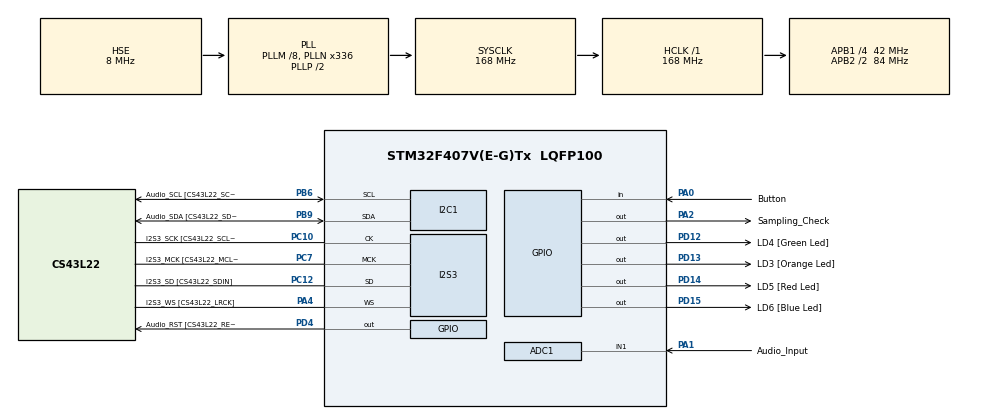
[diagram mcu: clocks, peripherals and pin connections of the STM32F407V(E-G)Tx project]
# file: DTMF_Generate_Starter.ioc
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ADC1.Channel-0\#ChannelRegularConversion=ADC_CHANNEL_1
ADC1.ClockPrescaler=ADC_CLOCK_SYNC_PCLK_DIV4
ADC1.ContinuousConvMode=DISABLE
ADC1.DMAContinuousRequests=DISABLE
ADC1.DataAlign=ADC_DATAALIGN_RIGHT
ADC1.DiscontinuousConvMode=DISABLE
ADC1.EOCSelection=ADC_EOC_SINGLE_CONV
ADC1.EnableAnalogWatchDog=false
ADC1.ExternalTrigConv=ADC_EXTERNALTRIGCONV_T2_TRGO
ADC1.ExternalTrigConvEdge=ADC_EXTERNALTRIGCONVEDGE_RISING
ADC1.InjNumberOfConversion=0
ADC1.NbrOfConversion=1
ADC1.NbrOfConversionFlag=1
ADC1.Rank-0\#ChannelRegularConversion=1
ADC1.Resolution=ADC_RESOLUTION_12B
ADC1.SamplingTime-0\#ChannelRegularConversion=ADC_SAMPLETIME_3CYCLES
ADC1.ScanConvMode=DISABLE
ADC1.master=1
I2S3.AudioFreq=I2S_AUDIOFREQ_48K
I2S3.ErrorAudioFreq=-0.01 %
I2S3.FullDuplexMode=I2S_FULLDUPLEXMODE_DISABLE
I2S3.Instance=SPI$Index
I2S3.RealAudioFreq=47.991 KHz
I2S3.Standard=I2S_STANDARD_PHILIPS
I2S3.VirtualMode=I2S_MODE_MASTER
Mcu.Family=STM32F4
Mcu.Name=STM32F407V(E-G)Tx
Mcu.Package=LQFP100
NVIC.ADC_IRQn=true\:0\:0\:false\:false\:true\:true\:true
NVIC.PriorityGroup=NVIC_PRIORITYGROUP_4
NVIC.SPI3_IRQn=true\:0\:0\:false\:false\:true\:true\:true
PA0-WKUP.GPIO_Label=Button
PA0-WKUP.Signal=GPIO_Input
PA1.GPIO_Label=Audio_Input
PA1.Signal=ADCx_IN1
PA13.GPIO_Label=SWDIO
PA13.Mode=Serial_Wire
PA13.Signal=SYS_JTMS-SWDIO
PA14.GPIO_Label=SWCLK
PA14.Mode=Serial_Wire
PA14.Signal=SYS_JTCK-SWCLK
PA2.GPIO_Label=Sampling_Check
PA2.Signal=GPIO_Output
PA4.GPIO_Label=I2S3_WS [CS43L22_LRCK]
PA4.GPIO_Mode=GPIO_MODE_AF_PP
PA4.GPIO_PuPd=GPIO_NOPULL
PA4.GPIO_Speed=GPIO_SPEED_FREQ_MEDIUM
PA4.Mode=Half_Duplex_Master
PA4.Signal=I2S3_WS
PB3.GPIO_Label=SWO
PB3.Signal=SYS_JTDO-SWO
PB6.GPIO_Label=Audio_SCL [CS43L22_SCL]
PB6.GPIO_Mode=GPIO_MODE_AF_OD
PB6.GPIO_PuPd=GPIO_NOPULL
PB6.GPIO_Speed=GPIO_SPEED_FREQ_LOW
PB6.Mode=I2C
PB6.Signal=I2C1_SCL
PB9.GPIO_Label=Audio_SDA [CS43L22_SDA]
PB9.GPIO_Mode=GPIO_MODE_AF_OD
PB9.GPIO_PuPd=GPIO_NOPULL
PB9.GPIO_Speed=GPIO_SPEED_FREQ_LOW
PB9.Mode=I2C
PB9.Signal=I2C1_SDA
PC10.GPIO_Label=I2S3_SCK [CS43L22_SCLK]
PC10.GPIO_Mode=GPIO_MODE_AF_PP
PC10.GPIO_PuPd=GPIO_NOPULL
PC10.GPIO_Speed=GPIO_SPEED_FREQ_MEDIUM
PC10.Mode=Half_Duplex_Master
PC10.Signal=I2S3_CK
PC12.GPIO_Label=I2S3_SD [CS43L22_SDIN]
PC12.GPIO_Mode=GPIO_MODE_AF_PP
PC12.GPIO_PuPd=GPIO_NOPULL
PC12.GPIO_Speed=GPIO_SPEED_FREQ_MEDIUM
PC12.Mode=Half_Duplex_Master
PC12.Signal=I2S3_SD
PC7.GPIO_Label=I2S3_MCK [CS43L22_MCLK]
PC7.GPIO_Mode=GPIO_MODE_AF_PP
PC7.GPIO_PuPd=GPIO_NOPULL
PC7.GPIO_Speed=GPIO_SPEED_FREQ_MEDIUM
PC7.Mode=Master_Clock_Activated
PC7.Signal=I2S3_MCK
PD12.GPIO_Label=LD4 [Green Led]
PD12.GPIO_PuPd=GPIO_NOPULL
PD12.GPIO_Speed=GPIO_SPEED_FREQ_LOW
PD12.Signal=GPIO_Output
PD13.GPIO_Label=LD3 [Orange Led]
PD13.GPIO_PuPd=GPIO_NOPULL
PD13.GPIO_Speed=GPIO_SPEED_FREQ_LOW
PD13.Signal=GPIO_Output
PD14.GPIO_Label=LD5 [Red Led]
PD14.GPIO_PuPd=GPIO_NOPULL
PD14.GPIO_Speed=GPIO_SPEED_FREQ_LOW
PD14.Signal=GPIO_Output
PD15.GPIO_Label=LD6 [Blue Led]
PD15.GPIO_PuPd=GPIO_NOPULL
PD15.GPIO_Speed=GPIO_SPEED_FREQ_LOW
PD15.Signal=GPIO_Output
PD4.GPIO_Label=Audio_RST [CS43L22_RESET]
PD4.GPIO_PuPd=GPIO_NOPULL
PD4.GPIO_Speed=GPIO_SPEED_FREQ_LOW
PD4.Signal=GPIO_Output
PH0-OSC_IN.GPIO_Label=PH0-OSC_IN
PH0-OSC_IN.Mode=HSE-External-Oscillator
PH0-OSC_IN.Signal=RCC_OSC_IN
PH1-OSC_OUT.GPIO_Label=PH1-OSC_OUT
PH1-OSC_OUT.Mode=HSE-External-Oscillator
PH1-OSC_OUT.Signal=RCC_OSC_OUT
ProjectManager.HeapSize=0x200
ProjectManager.StackSize=0x400
ProjectManager.TargetToolchain=TrueSTUDIO
RCC.48MHZClocksFreq_Value=48000000
RCC.AHBFreq_Value=168000000
RCC.APB1CLKDivider=RCC_HCLK_DIV4
RCC.APB1Freq_Value=42000000
RCC.APB1TimFreq_Value=84000000
RCC.APB2CLKDivider=RCC_HCLK_DIV2
RCC.APB2Freq_Value=84000000
RCC.APB2TimFreq_Value=168000000
RCC.CortexFreq_Value=168000000
RCC.HCLKFreq_Value=168000000
RCC.HSE_VALUE=8000000
RCC.HSI_VALUE=16000000
RCC.LSE_VALUE=0.00000000000003276799999999999
RCC.PLLI2SN=258
RCC.PLLI2SR=3
RCC.PLLM=8
RCC.PLLN=336
RCC.PLLQ=7
RCC.PLLSourceVirtual=RCC_PLLSOURCE_HSE
RCC.SYSCLKFreq_VALUE=168000000
RCC.SYSCLKSource=RCC_SYSCLKSOURCE_PLLCLK
RCC.VCOOutputFreq_Value=336000000
SH.ADCx_IN1.0=ADC1_IN1,IN1
TIM2.Period=9
TIM2.Prescaler=175
TIM2.TIM_MasterOutputTrigger=TIM_TRGO_UPDATE
TIM2.TIM_MasterSlaveMode=TIM_MASTERSLAVEMODE_DISABLE
VP_TIM2_VS_ClockSourceINT.Mode=Internal
board=STM32F4DISCOVERY

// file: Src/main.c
/* USER CODE BEGIN Header */
/**
  ******************************************************************************
  * @file           : main.c
  * @brief          : Main program body
  ******************************************************************************
  * @attention
  *
  * <h2><center>&copy; Copyright (c) 2019 STMicroelectronics.
  * All rights reserved.</center></h2>
  *
  * This software component is licensed by ST under BSD 3-Clause license,
  * the "License"; You may not use this file except in compliance with the
  * License. You may obtain a copy of the License at:
  *                        opensource.org/licenses/BSD-3-Clause
  *
  ******************************************************************************
  */
/* USER CODE END Header */

#include "main.h"

/* USER CODE BEGIN Includes */
#include <math.h>
#include "CS43L22.h"
#include <string.h>
#include <stdlib.h>
#include <stdio.h>
/* USER CODE END Includes */

/* USER CODE BEGIN PTD */
typedef struct Node
{
	struct Node* prev;
	float value;
	struct Node* next;
}Node;

typedef struct {
	float numerator[3], denominator[3];
}DE;
/* USER CODE END PTD */

/* USER CODE BEGIN PD */

#define FS 48000 //see also MX_I2S3_Init function

#define AUDIO_BUFFER_SIZE 180
//con 2*90 el plop se escucha cada tanto 90 samples por cada canal intercaladas

//opciones de compilacion

//#define USE_ADC  0
#define USE_LOOKUP_TABLE_COMPLEMENT_2 3

//#define ADC_OFFSET 0//2048  //Si uso LOOKUP TABLE offset = 0

// defino si quiero usar efectos en el camino de la senial

#define DSP

#define ROW 770
#define COLUMN 1209
#define _USE_MATH_DEFINES
#define START_VAL 3000
/* USER CODE END PD */

ADC_HandleTypeDef hadc1;

I2C_HandleTypeDef hi2c1;

I2S_HandleTypeDef hi2s3;

TIM_HandleTypeDef htim2;

/* USER CODE BEGIN PV */
uint16_t audioBufferA[AUDIO_BUFFER_SIZE];
uint16_t audioBufferB[AUDIO_BUFFER_SIZE];

/* %%%%%%%%%%%%%%%%% Declaro punteros para lectura y transmision de audio %%%%%%%%%%%%%%%%%%%*/

uint16_t *audioToSend = NULL;
uint16_t *audioToUpdate = NULL;

/* %%%%%%%%%%%%%%%%% Declaro variables globales %%%%%%%%%%%%%%%%%%%*/

flag_t flag = idle;

uint8_t adc_done = 0;

buffer_t  buffer_to_send = buffer_B;
buffer_t buffer_to_fill = buffer_A;

uint16_t sample;
volatile bool_t transferComplete = TRUE;

// initialize circular buffer pointers and global coefficient variables
Node* input_buffer;
Node* row_buffer;
Node* column_buffer;

DE row_diffeq;
DE column_diffeq;
/* USER CODE END PV */

void SystemClock_Config(void);
static void MX_GPIO_Init(void);
static void MX_I2C1_Init(void);
static void MX_I2S3_Init(void);
static void MX_ADC1_Init(void);
static void MX_TIM2_Init(void);
/* USER CODE BEGIN PFP */
uint16_t audio_read(void);
uint16_t* select_buffer_to_transmit(buffer_t);

void audio_buffer_init(void);   	//inicializo el audio buffer con ceros.
void fill_buffers();
void load_buffer(uint16_t* buff);

// creates a circular buffer of size 'size'
Node* create_circ_buffer(int size);
// calculates the next sample
float next_sample(DE diff_eq, Node* buffer);
DE create_diff_eq(int freq);
/* USER CODE END PFP */

int main(void)
{

  /* MCU Configuration--------------------------------------------------------*/

  /* Reset of all peripherals, Initializes the Flash interface and the Systick. */
  HAL_Init();

  /* Configure the system clock */
  SystemClock_Config();

  /* Initialize all configured peripherals */
  MX_GPIO_Init();
  MX_I2C1_Init();
  MX_I2S3_Init();
  MX_ADC1_Init();
  MX_TIM2_Init();
  /* USER CODE BEGIN 2 */
	audioToSend = audioBufferB;     //asigno punteros a c/u de los buffers
	audioToUpdate = audioBufferA;

	CS43L22_init();   				//configuro el DAC CS43L22

	audio_buffer_init();         	//inicializo los buffers con ceros

	HAL_TIM_Base_Start(&htim2); 	//activo el timer
	HAL_ADC_Start_IT(&hadc1); 		// y el ADC

	/* %%%%%%%%%%%%%%%%% compute filter coefficients %%%%%%%%%%%%%%%%%%%*/
	row_diffeq = create_diff_eq(ROW);
	column_diffeq = create_diff_eq(COLUMN);

	/* %%%%%%%%%%%%%%%%% Declare circular buffers %%%%%%%%%%%%%%%%%%%*/
	input_buffer = create_circ_buffer(3);
	row_buffer = create_circ_buffer(3);
	column_buffer = create_circ_buffer(3);

	input_buffer->value = START_VAL; // start the sine wave
  /* USER CODE END 2 */

  /* Infinite loop */
  while (1)
  {

    /* USER CODE BEGIN 3 */
	  audioToSend = select_buffer_to_transmit(buffer_to_send); //me devuelve el puntero al buffer listo para enviar

		if(transferComplete && (flag == data_ready_to_send)){

			flag = idle;

			CS43L22_AudioSend(audioToSend,AUDIO_BUFFER_SIZE); //Envio el buffer por I2S al codec

			transferComplete = FALSE;

		}

		if(adc_done){

			adc_done = 0;

			fill_buffers();
		}

  }
  /* USER CODE END 3 */
}

void SystemClock_Config(void)
{
  RCC_OscInitTypeDef RCC_OscInitStruct = {0};
  RCC_ClkInitTypeDef RCC_ClkInitStruct = {0};
  RCC_PeriphCLKInitTypeDef PeriphClkInitStruct = {0};

  /** Configure the main internal regulator output voltage
  */
  __HAL_RCC_PWR_CLK_ENABLE();
  __HAL_PWR_VOLTAGESCALING_CONFIG(PWR_REGULATOR_VOLTAGE_SCALE1);
  /** Initializes the CPU, AHB and APB busses clocks
  */
  RCC_OscInitStruct.OscillatorType = RCC_OSCILLATORTYPE_HSE;
  RCC_OscInitStruct.HSEState = RCC_HSE_ON;
  RCC_OscInitStruct.PLL.PLLState = RCC_PLL_ON;
  RCC_OscInitStruct.PLL.PLLSource = RCC_PLLSOURCE_HSE;
  RCC_OscInitStruct.PLL.PLLM = 8;
  RCC_OscInitStruct.PLL.PLLN = 336;
  RCC_OscInitStruct.PLL.PLLP = RCC_PLLP_DIV2;
  RCC_OscInitStruct.PLL.PLLQ = 7;
  if (HAL_RCC_OscConfig(&RCC_OscInitStruct) != HAL_OK)
  {
    Error_Handler();
  }
  /** Initializes the CPU, AHB and APB busses clocks
  */
  RCC_ClkInitStruct.ClockType = RCC_CLOCKTYPE_HCLK|RCC_CLOCKTYPE_SYSCLK
                              |RCC_CLOCKTYPE_PCLK1|RCC_CLOCKTYPE_PCLK2;
  RCC_ClkInitStruct.SYSCLKSource = RCC_SYSCLKSOURCE_PLLCLK;
  RCC_ClkInitStruct.AHBCLKDivider = RCC_SYSCLK_DIV1;
  RCC_ClkInitStruct.APB1CLKDivider = RCC_HCLK_DIV4;
  RCC_ClkInitStruct.APB2CLKDivider = RCC_HCLK_DIV2;

  if (HAL_RCC_ClockConfig(&RCC_ClkInitStruct, FLASH_LATENCY_5) != HAL_OK)
  {
    Error_Handler();
  }
  PeriphClkInitStruct.PeriphClockSelection = RCC_PERIPHCLK_I2S;
  PeriphClkInitStruct.PLLI2S.PLLI2SN = 258;
  PeriphClkInitStruct.PLLI2S.PLLI2SR = 3;
  if (HAL_RCCEx_PeriphCLKConfig(&PeriphClkInitStruct) != HAL_OK)
  {
    Error_Handler();
  }
}

static void MX_ADC1_Init(void)
{

  ADC_ChannelConfTypeDef sConfig = {0};

  /** Configure the global features of the ADC (Clock, Resolution, Data Alignment and number of conversion)
  */
  hadc1.Instance = ADC1;
  hadc1.Init.ClockPrescaler = ADC_CLOCK_SYNC_PCLK_DIV4;
  hadc1.Init.Resolution = ADC_RESOLUTION_12B;
  hadc1.Init.ScanConvMode = DISABLE;
  hadc1.Init.ContinuousConvMode = DISABLE;
  hadc1.Init.DiscontinuousConvMode = DISABLE;
  hadc1.Init.ExternalTrigConvEdge = ADC_EXTERNALTRIGCONVEDGE_RISING;
  hadc1.Init.ExternalTrigConv = ADC_EXTERNALTRIGCONV_T2_TRGO;
  hadc1.Init.DataAlign = ADC_DATAALIGN_RIGHT;
  hadc1.Init.NbrOfConversion = 1;
  hadc1.Init.DMAContinuousRequests = DISABLE;
  hadc1.Init.EOCSelection = ADC_EOC_SINGLE_CONV;
  if (HAL_ADC_Init(&hadc1) != HAL_OK)
  {
    Error_Handler();
  }
  /** Configure for the selected ADC regular channel its corresponding rank in the sequencer and its sample time.
  */
  sConfig.Channel = ADC_CHANNEL_1;
  sConfig.Rank = 1;
  sConfig.SamplingTime = ADC_SAMPLETIME_3CYCLES;
  if (HAL_ADC_ConfigChannel(&hadc1, &sConfig) != HAL_OK)
  {
    Error_Handler();
  }

}

static void MX_I2C1_Init(void)
{

  hi2c1.Instance = I2C1;
  hi2c1.Init.ClockSpeed = 100000;
  hi2c1.Init.DutyCycle = I2C_DUTYCYCLE_2;
  hi2c1.Init.OwnAddress1 = 0;
  hi2c1.Init.AddressingMode = I2C_ADDRESSINGMODE_7BIT;
  hi2c1.Init.DualAddressMode = I2C_DUALADDRESS_DISABLE;
  hi2c1.Init.OwnAddress2 = 0;
  hi2c1.Init.GeneralCallMode = I2C_GENERALCALL_DISABLE;
  hi2c1.Init.NoStretchMode = I2C_NOSTRETCH_DISABLE;
  if (HAL_I2C_Init(&hi2c1) != HAL_OK)
  {
    Error_Handler();
  }

}

static void MX_I2S3_Init(void)
{

  hi2s3.Instance = SPI3;
  hi2s3.Init.Mode = I2S_MODE_MASTER_TX;
  hi2s3.Init.Standard = I2S_STANDARD_PHILIPS;
  hi2s3.Init.DataFormat = I2S_DATAFORMAT_16B;
  hi2s3.Init.MCLKOutput = I2S_MCLKOUTPUT_ENABLE;
  hi2s3.Init.AudioFreq = I2S_AUDIOFREQ_48K;
  //hi2s3.Init.AudioFreq = I2S_AUDIOFREQ_8K;
  hi2s3.Init.CPOL = I2S_CPOL_LOW;
  hi2s3.Init.ClockSource = I2S_CLOCK_PLL;
  hi2s3.Init.FullDuplexMode = I2S_FULLDUPLEXMODE_DISABLE;
  if (HAL_I2S_Init(&hi2s3) != HAL_OK)
  {
    Error_Handler();
  }

}

static void MX_TIM2_Init(void)
{

  TIM_ClockConfigTypeDef sClockSourceConfig = {0};
  TIM_MasterConfigTypeDef sMasterConfig = {0};

  htim2.Instance = TIM2;
  htim2.Init.Prescaler = 175;
  htim2.Init.CounterMode = TIM_COUNTERMODE_UP;
  htim2.Init.Period = 9;
  htim2.Init.ClockDivision = TIM_CLOCKDIVISION_DIV1;
  htim2.Init.AutoReloadPreload = TIM_AUTORELOAD_PRELOAD_DISABLE;
  if (HAL_TIM_Base_Init(&htim2) != HAL_OK)
  {
    Error_Handler();
  }
  sClockSourceConfig.ClockSource = TIM_CLOCKSOURCE_INTERNAL;
  if (HAL_TIM_ConfigClockSource(&htim2, &sClockSourceConfig) != HAL_OK)
  {
    Error_Handler();
  }
  sMasterConfig.MasterOutputTrigger = TIM_TRGO_UPDATE;
  sMasterConfig.MasterSlaveMode = TIM_MASTERSLAVEMODE_DISABLE;
  if (HAL_TIMEx_MasterConfigSynchronization(&htim2, &sMasterConfig) != HAL_OK)
  {
    Error_Handler();
  }

}

static void MX_GPIO_Init(void)
{
  GPIO_InitTypeDef GPIO_InitStruct = {0};

  /* GPIO Ports Clock Enable */
  __HAL_RCC_GPIOH_CLK_ENABLE();
  __HAL_RCC_GPIOA_CLK_ENABLE();
  __HAL_RCC_GPIOD_CLK_ENABLE();
  __HAL_RCC_GPIOC_CLK_ENABLE();
  __HAL_RCC_GPIOB_CLK_ENABLE();

  /*Configure GPIO pin Output Level */
  HAL_GPIO_WritePin(Sampling_Check_GPIO_Port, Sampling_Check_Pin, GPIO_PIN_RESET);

  /*Configure GPIO pin Output Level */
  HAL_GPIO_WritePin(GPIOD, LD4_Pin|LD3_Pin|LD5_Pin|LD6_Pin
                          |Audio_RST_Pin, GPIO_PIN_RESET);

  /*Configure GPIO pin : Button_Pin */
  GPIO_InitStruct.Pin = Button_Pin;
  GPIO_InitStruct.Mode = GPIO_MODE_INPUT;
  GPIO_InitStruct.Pull = GPIO_NOPULL;
  HAL_GPIO_Init(Button_GPIO_Port, &GPIO_InitStruct);

  /*Configure GPIO pin : Sampling_Check_Pin */
  GPIO_InitStruct.Pin = Sampling_Check_Pin;
  GPIO_InitStruct.Mode = GPIO_MODE_OUTPUT_PP;
  GPIO_InitStruct.Pull = GPIO_NOPULL;
  GPIO_InitStruct.Speed = GPIO_SPEED_FREQ_LOW;
  HAL_GPIO_Init(Sampling_Check_GPIO_Port, &GPIO_InitStruct);

  /*Configure GPIO pins : LD4_Pin LD3_Pin LD5_Pin LD6_Pin
                           Audio_RST_Pin */
  GPIO_InitStruct.Pin = LD4_Pin|LD3_Pin|LD5_Pin|LD6_Pin
                          |Audio_RST_Pin;
  GPIO_InitStruct.Mode = GPIO_MODE_OUTPUT_PP;
  GPIO_InitStruct.Pull = GPIO_NOPULL;
  GPIO_InitStruct.Speed = GPIO_SPEED_FREQ_LOW;
  HAL_GPIO_Init(GPIOD, &GPIO_InitStruct);

}

/* USER CODE BEGIN 4 */
void HAL_I2S_TxCpltCallback(I2S_HandleTypeDef *hi2s)
{
	/* Prevent unused argument(s) compilation warning */
	UNUSED(hi2s);

	//HAL_GPIO_TogglePin(Sampling_Check_GPIO_Port, Sampling_Check_Pin);

	transferComplete = TRUE;

}

void load_buffer(uint16_t *buff)
{

	static size_t i = 0;

#ifdef DSP
	//move to next sample in buffer
	row_buffer = row_buffer->next;
	column_buffer = column_buffer->next;
	input_buffer = input_buffer->next;

	// calculate new output value
	row_buffer->value = next_sample(row_diffeq, row_buffer);
	column_buffer->value = next_sample(column_diffeq, column_buffer);

	// cast to sample
	int16_t sample1 = (int16_t)(row_buffer->value + column_buffer->value);
	sample = (uint16_t)sample1;
#endif

	buff[i] = sample;

	buff[i+1] =  buff[i];

	i = i+2;

	if( (i >= AUDIO_BUFFER_SIZE)){

		buffer_t aux = buffer_to_send;
		buffer_to_send = buffer_to_fill;
		buffer_to_fill = aux;

		flag = data_ready_to_send;
		i=0;
	}

}

void fill_buffers(){

	if((buffer_to_fill == buffer_A)){

		audioToUpdate = audioBufferA;
		load_buffer(audioToUpdate);

	}
	if((buffer_to_fill == buffer_B)){

		audioToUpdate = audioBufferB;
		load_buffer(audioToUpdate);
	}

}

void HAL_ADC_ConvCpltCallback(ADC_HandleTypeDef* hadc)

{
	/* Prevent unused argument(s) compilation warning */
	UNUSED(hadc);
	adc_done = 1;

}

uint16_t* select_buffer_to_transmit(buffer_t bf){

	uint16_t *ptr = NULL;

	if(buffer_to_send == buffer_A){

		ptr = audioBufferA;

	}else if(buffer_to_send == buffer_B){

		ptr = audioBufferB;

	}

	return ptr;

}

void audio_buffer_init(){

	size_t i;

	for(i = 0;i<AUDIO_BUFFER_SIZE;i++){

		audioBufferA[i] = 0;
		audioBufferB[i] = 0;

	}

}

/*uint16_t audio_read(void){

#if (RUN_OPT == USE_ADC)

	return HAL_ADC_GetValue(&hadc1);

#endif

#if (RUN_OPT == USE_LOOKUP_TABLE_COMPLEMENT_2)

	static size_t index = 0;

	if(index >= SINE_SAMPLES){

		index = 0;
	}

	return SINE_COMP[index++];

#endif

}*/

void CS43L22_EXTERNAL_DAC_I2S_transmit(uint16_t *buffer,uint16_t buffer_size){

	HAL_I2S_Transmit_IT(&hi2s3,buffer,buffer_size);

}

void CS43L22_EXTERNAL_DAC_I2C_write(uint8_t *iData, uint8_t len)
{ //maneja el periferico i2c para comunicaicon con el dac

	HAL_I2C_Master_Transmit(&hi2c1, CS43L22_ADDRESS, iData, len, 100);

}

void CS43L22_EXTERNAL_DAC_I2C_recieve(uint8_t *iData){

	HAL_I2C_Master_Receive(&hi2c1, CS43L22_ADDRESS, iData, 1, 100);

}

void CS43L22_EXTERNAL_DAC_enable()
{
	//esta funcion se encarga de poner en alto o bajo el pin de reset del dac
	//recibe un 1 para poner el pin en alto y un 0 para ponerlo en bajo

	HAL_GPIO_WritePin(GPIOD, GPIO_PIN_4, GPIO_PIN_SET);

}

float next_sample(DE diff_eq, Node* buffer)
{
	float value = 0;
	for (int i = 0; i <3; i++)
	{
		value += (buffer->value)*diff_eq.denominator[i] + (input_buffer->value)*diff_eq.numerator[i];
		buffer = buffer->prev;
		input_buffer = input_buffer->prev;
	}
	return value;
}

Node* create_circ_buffer(int size)
{
	// create head and current node pointers
	Node* head = malloc(sizeof(Node));
	head->value = 0.0;
	Node* current;

	// set current pointer to head
	current = head;

	//decrement size by 1
	size--;
	// create the rest of the nodes
	for (int i = 0; i < size; i++)
	{
		// create temporary node
		Node* temp = malloc(sizeof(Node));
		temp->value = 0.0;
		// point current to temp and vice versa
		current->next = temp;
		temp->prev = current;
		// set current node to next node
		current = temp;
	}
	// point head to tail and tail to head
	head->prev = current;
	current->next = head;
	//return the start of the circular buffer
	return head;
}

DE create_diff_eq(int freq)
{
	DE diff_eq;
	diff_eq.numerator[0] = 0;
	diff_eq.numerator[1] = sin((float)freq*M_PI/24000.0);
	diff_eq.numerator[2] = 0;

	diff_eq.denominator[0] = 0;
	diff_eq.denominator[1] = 2*cos((float)freq*M_PI/24000.0);
	diff_eq.denominator[2] = -1;

	return diff_eq;
}
/* USER CODE END 4 */

void Error_Handler(void)
{
}

/************************ (C) COPYRIGHT STMicroelectronics *****END OF FILE****/
